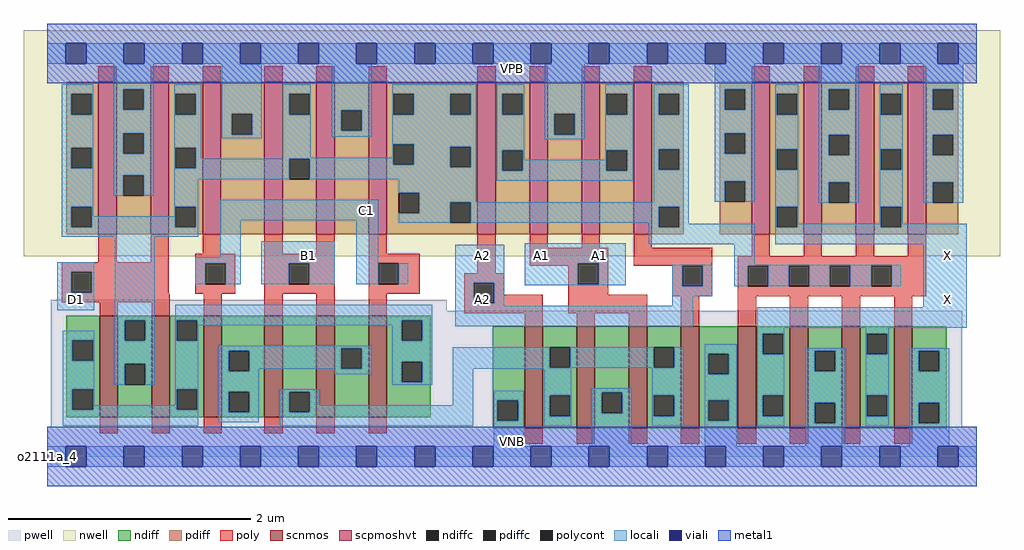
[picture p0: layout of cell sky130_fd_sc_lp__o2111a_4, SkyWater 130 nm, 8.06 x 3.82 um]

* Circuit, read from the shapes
.subckt sky130_fd_sc_lp__o2111a_4 A1 A2 B1 C1 D1 VGND VNB VPB VPWR X
XM1 n1 D1 n2 VNB sky130_fd_pr__nfet_01v8 w=0.84 l=0.15 m=2
XM2 n3 C1 n2 VNB sky130_fd_pr__nfet_01v8 w=0.84 l=0.15 m=2
XM3 n4 B1 n3 VNB sky130_fd_pr__nfet_01v8 w=0.84 l=0.15 m=2
XM4 n4 A2 VGND VNB sky130_fd_pr__nfet_01v8 w=0.84 l=0.15 m=2
XM5 VGND A1 n4 VNB sky130_fd_pr__nfet_01v8 w=0.84 l=0.15 m=2
XM6 X n1 VGND VNB sky130_fd_pr__nfet_01v8 w=0.84 l=0.15 m=4
XM7 VPWR D1 n1 VPB sky130_fd_pr__pfet_01v8_hvt w=1.26 l=0.15 m=2
XM8 VPWR C1 n1 VPB sky130_fd_pr__pfet_01v8_hvt w=1.26 l=0.15 m=2
XM9 n1 B1 VPWR VPB sky130_fd_pr__pfet_01v8_hvt w=1.26 l=0.15 m=2
XM10 n5 A2 n1 VPB sky130_fd_pr__pfet_01v8_hvt w=1.26 l=0.15 m=2
XM11 VPWR A1 n5 VPB sky130_fd_pr__pfet_01v8_hvt w=1.26 l=0.15 m=2
XM12 X n1 VPWR VPB sky130_fd_pr__pfet_01v8_hvt w=1.26 l=0.15 m=4
.ends

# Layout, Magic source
magic
tech sky130A
magscale 1 2
<< nwell >>
rect -38 331 1574 704
<< pwell >>
rect 6 241 660 259
rect 6 49 1512 241
rect 0 0 1536 49
<< scnmos >>
rect 87 65 117 233
rect 173 65 203 233
rect 259 65 289 233
rect 359 65 389 233
rect 445 65 475 233
rect 531 65 561 233
rect 789 47 819 215
rect 875 47 905 215
rect 961 47 991 215
rect 1047 47 1077 215
rect 1141 47 1171 215
rect 1227 47 1257 215
rect 1313 47 1343 215
rect 1399 47 1429 215
<< scpmoshvt >>
rect 85 367 115 619
rect 171 367 201 619
rect 257 367 287 619
rect 359 367 389 619
rect 445 367 475 619
rect 531 367 561 619
rect 711 367 741 619
rect 797 367 827 619
rect 883 367 913 619
rect 969 367 999 619
rect 1164 367 1194 619
rect 1250 367 1280 619
rect 1336 367 1366 619
rect 1422 367 1452 619
<< ndiff >>
rect 32 192 87 233
rect 32 158 42 192
rect 76 158 87 192
rect 32 111 87 158
rect 32 77 42 111
rect 76 77 87 111
rect 32 65 87 77
rect 117 225 173 233
rect 117 191 128 225
rect 162 191 173 225
rect 117 153 173 191
rect 117 119 128 153
rect 162 119 173 153
rect 117 65 173 119
rect 203 225 259 233
rect 203 191 214 225
rect 248 191 259 225
rect 203 111 259 191
rect 203 77 214 111
rect 248 77 259 111
rect 203 65 259 77
rect 289 175 359 233
rect 289 141 300 175
rect 334 141 359 175
rect 289 107 359 141
rect 289 73 300 107
rect 334 73 359 107
rect 289 65 359 73
rect 389 107 445 233
rect 389 73 400 107
rect 434 73 445 107
rect 389 65 445 73
rect 475 179 531 233
rect 475 145 486 179
rect 520 145 531 179
rect 475 65 531 145
rect 561 225 634 233
rect 561 191 586 225
rect 620 191 634 225
rect 561 157 634 191
rect 561 123 586 157
rect 620 123 634 157
rect 561 65 634 123
rect 736 93 789 215
rect 736 59 744 93
rect 778 59 789 93
rect 736 47 789 59
rect 819 181 875 215
rect 819 147 830 181
rect 864 147 875 181
rect 819 101 875 147
rect 819 67 830 101
rect 864 67 875 101
rect 819 47 875 67
rect 905 106 961 215
rect 905 72 916 106
rect 950 72 961 106
rect 905 47 961 72
rect 991 181 1047 215
rect 991 147 1002 181
rect 1036 147 1047 181
rect 991 101 1047 147
rect 991 67 1002 101
rect 1036 67 1047 101
rect 991 47 1047 67
rect 1077 170 1141 215
rect 1077 136 1092 170
rect 1126 136 1141 170
rect 1077 93 1141 136
rect 1077 59 1092 93
rect 1126 59 1141 93
rect 1077 47 1141 59
rect 1171 203 1227 215
rect 1171 169 1182 203
rect 1216 169 1227 203
rect 1171 101 1227 169
rect 1171 67 1182 101
rect 1216 67 1227 101
rect 1171 47 1227 67
rect 1257 175 1313 215
rect 1257 141 1268 175
rect 1302 141 1313 175
rect 1257 89 1313 141
rect 1257 55 1268 89
rect 1302 55 1313 89
rect 1257 47 1313 55
rect 1343 203 1399 215
rect 1343 169 1354 203
rect 1388 169 1399 203
rect 1343 101 1399 169
rect 1343 67 1354 101
rect 1388 67 1399 101
rect 1343 47 1399 67
rect 1429 175 1486 215
rect 1429 141 1440 175
rect 1474 141 1486 175
rect 1429 89 1486 141
rect 1429 55 1440 89
rect 1474 55 1486 89
rect 1429 47 1486 55
<< pdiff >>
rect 32 599 85 619
rect 32 565 40 599
rect 74 565 85 599
rect 32 510 85 565
rect 32 476 40 510
rect 74 476 85 510
rect 32 413 85 476
rect 32 379 40 413
rect 74 379 85 413
rect 32 367 85 379
rect 115 607 171 619
rect 115 573 126 607
rect 160 573 171 607
rect 115 534 171 573
rect 115 500 126 534
rect 160 500 171 534
rect 115 465 171 500
rect 115 431 126 465
rect 160 431 171 465
rect 115 367 171 431
rect 201 599 257 619
rect 201 565 212 599
rect 246 565 257 599
rect 201 510 257 565
rect 201 476 212 510
rect 246 476 257 510
rect 201 413 257 476
rect 201 379 212 413
rect 246 379 257 413
rect 201 367 257 379
rect 287 566 359 619
rect 287 532 305 566
rect 339 532 359 566
rect 287 367 359 532
rect 389 599 445 619
rect 389 565 400 599
rect 434 565 445 599
rect 389 492 445 565
rect 389 458 400 492
rect 434 458 445 492
rect 389 367 445 458
rect 475 572 531 619
rect 475 538 486 572
rect 520 538 531 572
rect 475 367 531 538
rect 561 599 711 619
rect 561 565 572 599
rect 606 565 666 599
rect 700 565 711 599
rect 561 516 711 565
rect 561 482 572 516
rect 606 512 711 516
rect 606 482 666 512
rect 561 478 666 482
rect 700 478 711 512
rect 561 436 711 478
rect 561 402 581 436
rect 615 420 711 436
rect 615 402 666 420
rect 561 386 666 402
rect 700 386 711 420
rect 561 367 711 386
rect 741 599 797 619
rect 741 565 752 599
rect 786 565 797 599
rect 741 506 797 565
rect 741 472 752 506
rect 786 472 797 506
rect 741 367 797 472
rect 827 566 883 619
rect 827 532 838 566
rect 872 532 883 566
rect 827 367 883 532
rect 913 599 969 619
rect 913 565 924 599
rect 958 565 969 599
rect 913 506 969 565
rect 913 472 924 506
rect 958 472 969 506
rect 913 367 969 472
rect 999 599 1052 619
rect 999 565 1010 599
rect 1044 565 1052 599
rect 999 508 1052 565
rect 999 474 1010 508
rect 1044 474 1052 508
rect 999 413 1052 474
rect 999 379 1010 413
rect 1044 379 1052 413
rect 999 367 1052 379
rect 1111 607 1164 619
rect 1111 573 1119 607
rect 1153 573 1164 607
rect 1111 534 1164 573
rect 1111 500 1119 534
rect 1153 500 1164 534
rect 1111 455 1164 500
rect 1111 421 1119 455
rect 1153 421 1164 455
rect 1111 367 1164 421
rect 1194 599 1250 619
rect 1194 565 1205 599
rect 1239 565 1250 599
rect 1194 508 1250 565
rect 1194 474 1205 508
rect 1239 474 1250 508
rect 1194 413 1250 474
rect 1194 379 1205 413
rect 1239 379 1250 413
rect 1194 367 1250 379
rect 1280 607 1336 619
rect 1280 573 1291 607
rect 1325 573 1336 607
rect 1280 532 1336 573
rect 1280 498 1291 532
rect 1325 498 1336 532
rect 1280 453 1336 498
rect 1280 419 1291 453
rect 1325 419 1336 453
rect 1280 367 1336 419
rect 1366 599 1422 619
rect 1366 565 1377 599
rect 1411 565 1422 599
rect 1366 508 1422 565
rect 1366 474 1377 508
rect 1411 474 1422 508
rect 1366 413 1422 474
rect 1366 379 1377 413
rect 1411 379 1422 413
rect 1366 367 1422 379
rect 1452 607 1505 619
rect 1452 573 1463 607
rect 1497 573 1505 607
rect 1452 532 1505 573
rect 1452 498 1463 532
rect 1497 498 1505 532
rect 1452 453 1505 498
rect 1452 419 1463 453
rect 1497 419 1505 453
rect 1452 367 1505 419
<< ndiffc >>
rect 42 158 76 192
rect 42 77 76 111
rect 128 191 162 225
rect 128 119 162 153
rect 214 191 248 225
rect 214 77 248 111
rect 300 141 334 175
rect 300 73 334 107
rect 400 73 434 107
rect 486 145 520 179
rect 586 191 620 225
rect 586 123 620 157
rect 744 59 778 93
rect 830 147 864 181
rect 830 67 864 101
rect 916 72 950 106
rect 1002 147 1036 181
rect 1002 67 1036 101
rect 1092 136 1126 170
rect 1092 59 1126 93
rect 1182 169 1216 203
rect 1182 67 1216 101
rect 1268 141 1302 175
rect 1268 55 1302 89
rect 1354 169 1388 203
rect 1354 67 1388 101
rect 1440 141 1474 175
rect 1440 55 1474 89
<< pdiffc >>
rect 40 565 74 599
rect 40 476 74 510
rect 40 379 74 413
rect 126 573 160 607
rect 126 500 160 534
rect 126 431 160 465
rect 212 565 246 599
rect 212 476 246 510
rect 212 379 246 413
rect 305 532 339 566
rect 400 565 434 599
rect 400 458 434 492
rect 486 538 520 572
rect 572 565 606 599
rect 666 565 700 599
rect 572 482 606 516
rect 666 478 700 512
rect 581 402 615 436
rect 666 386 700 420
rect 752 565 786 599
rect 752 472 786 506
rect 838 532 872 566
rect 924 565 958 599
rect 924 472 958 506
rect 1010 565 1044 599
rect 1010 474 1044 508
rect 1010 379 1044 413
rect 1119 573 1153 607
rect 1119 500 1153 534
rect 1119 421 1153 455
rect 1205 565 1239 599
rect 1205 474 1239 508
rect 1205 379 1239 413
rect 1291 573 1325 607
rect 1291 498 1325 532
rect 1291 419 1325 453
rect 1377 565 1411 599
rect 1377 474 1411 508
rect 1377 379 1411 413
rect 1463 573 1497 607
rect 1463 498 1497 532
rect 1463 419 1497 453
<< poly >>
rect 85 619 115 645
rect 171 619 201 645
rect 257 619 287 645
rect 359 619 389 645
rect 445 619 475 645
rect 531 619 561 645
rect 711 619 741 645
rect 797 619 827 645
rect 883 619 913 645
rect 969 619 999 645
rect 1164 619 1194 645
rect 1250 619 1280 645
rect 1336 619 1366 645
rect 1422 619 1452 645
rect 85 321 115 367
rect 171 321 201 367
rect 257 335 287 367
rect 359 335 389 367
rect 445 335 475 367
rect 24 305 201 321
rect 24 271 40 305
rect 74 271 201 305
rect 24 269 201 271
rect 245 319 311 335
rect 245 285 261 319
rect 295 285 311 319
rect 245 269 311 285
rect 359 319 475 335
rect 359 285 399 319
rect 433 285 475 319
rect 359 269 475 285
rect 24 255 203 269
rect 87 233 117 255
rect 173 233 203 255
rect 259 233 289 269
rect 359 233 389 269
rect 445 233 475 269
rect 531 335 561 367
rect 531 319 616 335
rect 531 285 547 319
rect 581 285 616 319
rect 711 303 741 367
rect 797 345 827 367
rect 883 345 913 367
rect 969 345 999 367
rect 797 319 927 345
rect 797 315 877 319
rect 531 269 616 285
rect 689 287 755 303
rect 531 233 561 269
rect 689 253 705 287
rect 739 267 755 287
rect 861 285 877 315
rect 911 285 927 319
rect 969 315 1099 345
rect 1164 331 1194 367
rect 1250 331 1280 367
rect 1336 331 1366 367
rect 1422 331 1452 367
rect 861 267 927 285
rect 1033 281 1049 315
rect 1083 281 1099 315
rect 739 253 819 267
rect 689 237 819 253
rect 861 237 991 267
rect 1033 265 1099 281
rect 1141 315 1452 331
rect 1141 281 1157 315
rect 1191 281 1225 315
rect 1259 281 1293 315
rect 1327 281 1361 315
rect 1395 281 1452 315
rect 1141 265 1452 281
rect 789 215 819 237
rect 875 215 905 237
rect 961 215 991 237
rect 1047 215 1077 265
rect 1141 215 1171 265
rect 1227 215 1257 265
rect 1313 215 1343 265
rect 1399 215 1429 265
rect 87 39 117 65
rect 173 39 203 65
rect 259 39 289 65
rect 359 39 389 65
rect 445 39 475 65
rect 531 39 561 65
rect 789 21 819 47
rect 875 21 905 47
rect 961 21 991 47
rect 1047 21 1077 47
rect 1141 21 1171 47
rect 1227 21 1257 47
rect 1313 21 1343 47
rect 1399 21 1429 47
<< polycont >>
rect 40 271 74 305
rect 261 285 295 319
rect 399 285 433 319
rect 547 285 581 319
rect 705 253 739 287
rect 877 285 911 319
rect 1049 281 1083 315
rect 1157 281 1191 315
rect 1225 281 1259 315
rect 1293 281 1327 315
rect 1361 281 1395 315
<< locali >>
rect 0 649 31 683
rect 65 649 127 683
rect 161 649 223 683
rect 257 649 319 683
rect 353 649 415 683
rect 449 649 511 683
rect 545 649 607 683
rect 641 649 703 683
rect 737 649 799 683
rect 833 649 895 683
rect 929 649 991 683
rect 1025 649 1087 683
rect 1121 649 1183 683
rect 1217 649 1279 683
rect 1313 649 1375 683
rect 1409 649 1471 683
rect 1505 649 1536 683
rect 24 599 76 615
rect 24 565 40 599
rect 74 565 76 599
rect 24 510 76 565
rect 24 476 40 510
rect 74 476 76 510
rect 24 413 76 476
rect 110 607 176 649
rect 110 573 126 607
rect 160 573 176 607
rect 110 534 176 573
rect 110 500 126 534
rect 160 500 176 534
rect 110 465 176 500
rect 110 431 126 465
rect 160 431 176 465
rect 210 599 255 615
rect 210 565 212 599
rect 246 565 255 599
rect 210 510 255 565
rect 289 566 355 649
rect 289 532 305 566
rect 339 532 355 566
rect 289 526 355 532
rect 389 599 436 615
rect 389 565 400 599
rect 434 565 436 599
rect 210 476 212 510
rect 246 492 255 510
rect 389 494 436 565
rect 470 572 536 649
rect 470 538 486 572
rect 520 538 536 572
rect 470 528 536 538
rect 570 599 709 615
rect 570 565 572 599
rect 606 565 666 599
rect 700 565 709 599
rect 570 516 709 565
rect 570 494 572 516
rect 389 492 572 494
rect 246 476 400 492
rect 210 458 400 476
rect 434 482 572 492
rect 606 512 709 516
rect 606 482 666 512
rect 434 478 666 482
rect 700 478 709 512
rect 434 458 709 478
rect 24 379 40 413
rect 74 397 76 413
rect 210 413 250 458
rect 581 436 709 458
rect 743 599 788 615
rect 743 565 752 599
rect 786 565 788 599
rect 743 506 788 565
rect 822 566 888 649
rect 822 532 838 566
rect 872 532 888 566
rect 822 524 888 532
rect 922 599 968 615
rect 922 565 924 599
rect 958 565 968 599
rect 743 472 752 506
rect 786 490 788 506
rect 922 506 968 565
rect 922 490 924 506
rect 786 472 924 490
rect 958 472 968 506
rect 743 456 968 472
rect 1002 599 1060 615
rect 1002 565 1010 599
rect 1044 565 1060 599
rect 1002 508 1060 565
rect 1002 474 1010 508
rect 1044 474 1060 508
rect 210 397 212 413
rect 74 379 212 397
rect 246 379 250 413
rect 24 363 250 379
rect 286 390 547 424
rect 17 305 78 321
rect 17 271 40 305
rect 74 271 78 305
rect 17 242 78 271
rect 112 225 178 363
rect 286 329 320 390
rect 245 319 320 329
rect 245 285 261 319
rect 295 285 320 319
rect 354 319 475 356
rect 354 285 399 319
rect 433 285 475 319
rect 511 285 547 390
rect 615 420 709 436
rect 1002 420 1060 474
rect 1103 607 1169 649
rect 1103 573 1119 607
rect 1153 573 1169 607
rect 1103 534 1169 573
rect 1103 500 1119 534
rect 1153 500 1169 534
rect 1103 455 1169 500
rect 1103 421 1119 455
rect 1153 421 1169 455
rect 1203 599 1241 615
rect 1203 565 1205 599
rect 1239 565 1241 599
rect 1203 508 1241 565
rect 1203 474 1205 508
rect 1239 474 1241 508
rect 615 402 666 420
rect 581 386 666 402
rect 700 413 1060 420
rect 700 386 1010 413
rect 994 379 1010 386
rect 1044 385 1060 413
rect 1203 413 1241 474
rect 1275 607 1341 649
rect 1275 573 1291 607
rect 1325 573 1341 607
rect 1275 532 1341 573
rect 1275 498 1291 532
rect 1325 498 1341 532
rect 1275 453 1341 498
rect 1275 419 1291 453
rect 1325 419 1341 453
rect 1375 599 1413 615
rect 1375 565 1377 599
rect 1411 565 1413 599
rect 1375 508 1413 565
rect 1375 474 1377 508
rect 1411 474 1413 508
rect 1044 379 1169 385
rect 581 285 597 319
rect 674 287 755 350
rect 674 253 705 287
rect 739 253 755 287
rect 789 319 956 352
rect 994 351 1169 379
rect 1203 379 1205 413
rect 1239 385 1241 413
rect 1375 413 1413 474
rect 1447 607 1513 649
rect 1447 573 1463 607
rect 1497 573 1513 607
rect 1447 532 1513 573
rect 1447 498 1463 532
rect 1497 498 1513 532
rect 1447 453 1513 498
rect 1447 419 1463 453
rect 1497 419 1513 453
rect 1375 385 1377 413
rect 1239 379 1377 385
rect 1411 385 1413 413
rect 1411 379 1519 385
rect 1203 351 1519 379
rect 789 285 877 319
rect 911 285 956 319
rect 1135 317 1169 351
rect 789 283 956 285
rect 1033 315 1099 317
rect 26 192 78 208
rect 26 158 42 192
rect 76 158 78 192
rect 26 111 78 158
rect 112 191 128 225
rect 162 191 178 225
rect 112 153 178 191
rect 112 119 128 153
rect 162 119 178 153
rect 212 225 636 251
rect 212 191 214 225
rect 248 217 586 225
rect 248 191 250 217
rect 26 77 42 111
rect 76 85 78 111
rect 212 111 250 191
rect 570 191 586 217
rect 620 191 636 225
rect 674 249 755 253
rect 1033 281 1049 315
rect 1083 281 1099 315
rect 1135 315 1411 317
rect 1135 281 1157 315
rect 1191 281 1225 315
rect 1259 281 1293 315
rect 1327 281 1361 315
rect 1395 281 1411 315
rect 1033 265 1099 281
rect 1033 249 1067 265
rect 674 215 1067 249
rect 1447 247 1519 351
rect 212 85 214 111
rect 76 77 214 85
rect 248 77 250 111
rect 26 51 250 77
rect 284 179 536 183
rect 284 175 486 179
rect 284 141 300 175
rect 334 145 486 175
rect 520 145 536 179
rect 334 141 350 145
rect 284 107 350 141
rect 475 136 536 145
rect 570 157 636 191
rect 1173 213 1519 247
rect 1173 203 1218 213
rect 570 123 586 157
rect 620 123 636 157
rect 570 119 636 123
rect 670 147 830 181
rect 864 147 1002 181
rect 1036 147 1052 181
rect 670 145 866 147
rect 284 73 300 107
rect 334 73 350 107
rect 284 57 350 73
rect 384 107 450 111
rect 384 73 400 107
rect 434 85 450 107
rect 670 85 704 145
rect 434 73 704 85
rect 384 51 704 73
rect 738 93 787 109
rect 738 59 744 93
rect 778 59 787 93
rect 738 17 787 59
rect 821 101 866 145
rect 821 67 830 101
rect 864 67 866 101
rect 821 51 866 67
rect 900 106 966 113
rect 900 72 916 106
rect 950 72 966 106
rect 900 17 966 72
rect 1000 101 1052 147
rect 1000 67 1002 101
rect 1036 67 1052 101
rect 1000 51 1052 67
rect 1086 170 1139 186
rect 1086 136 1092 170
rect 1126 136 1139 170
rect 1086 93 1139 136
rect 1086 59 1092 93
rect 1126 59 1139 93
rect 1086 17 1139 59
rect 1173 169 1182 203
rect 1216 169 1218 203
rect 1352 203 1390 213
rect 1173 101 1218 169
rect 1173 67 1182 101
rect 1216 67 1218 101
rect 1173 51 1218 67
rect 1252 175 1318 179
rect 1252 141 1268 175
rect 1302 141 1318 175
rect 1252 89 1318 141
rect 1252 55 1268 89
rect 1302 55 1318 89
rect 1252 17 1318 55
rect 1352 169 1354 203
rect 1388 169 1390 203
rect 1352 101 1390 169
rect 1352 67 1354 101
rect 1388 67 1390 101
rect 1352 51 1390 67
rect 1424 175 1490 179
rect 1424 141 1440 175
rect 1474 141 1490 175
rect 1424 89 1490 141
rect 1424 55 1440 89
rect 1474 55 1490 89
rect 1424 17 1490 55
rect 0 -17 31 17
rect 65 -17 127 17
rect 161 -17 223 17
rect 257 -17 319 17
rect 353 -17 415 17
rect 449 -17 511 17
rect 545 -17 607 17
rect 641 -17 703 17
rect 737 -17 799 17
rect 833 -17 895 17
rect 929 -17 991 17
rect 1025 -17 1087 17
rect 1121 -17 1183 17
rect 1217 -17 1279 17
rect 1313 -17 1375 17
rect 1409 -17 1471 17
rect 1505 -17 1536 17
<< viali >>
rect 31 649 65 683
rect 127 649 161 683
rect 223 649 257 683
rect 319 649 353 683
rect 415 649 449 683
rect 511 649 545 683
rect 607 649 641 683
rect 703 649 737 683
rect 799 649 833 683
rect 895 649 929 683
rect 991 649 1025 683
rect 1087 649 1121 683
rect 1183 649 1217 683
rect 1279 649 1313 683
rect 1375 649 1409 683
rect 1471 649 1505 683
rect 31 -17 65 17
rect 127 -17 161 17
rect 223 -17 257 17
rect 319 -17 353 17
rect 415 -17 449 17
rect 511 -17 545 17
rect 607 -17 641 17
rect 703 -17 737 17
rect 799 -17 833 17
rect 895 -17 929 17
rect 991 -17 1025 17
rect 1087 -17 1121 17
rect 1183 -17 1217 17
rect 1279 -17 1313 17
rect 1375 -17 1409 17
rect 1471 -17 1505 17
<< metal1 >>
rect 0 683 1536 715
rect 0 649 31 683
rect 65 649 127 683
rect 161 649 223 683
rect 257 649 319 683
rect 353 649 415 683
rect 449 649 511 683
rect 545 649 607 683
rect 641 649 703 683
rect 737 649 799 683
rect 833 649 895 683
rect 929 649 991 683
rect 1025 649 1087 683
rect 1121 649 1183 683
rect 1217 649 1279 683
rect 1313 649 1375 683
rect 1409 649 1471 683
rect 1505 649 1536 683
rect 0 617 1536 649
rect 0 17 1536 49
rect 0 -17 31 17
rect 65 -17 127 17
rect 161 -17 223 17
rect 257 -17 319 17
rect 353 -17 415 17
rect 449 -17 511 17
rect 545 -17 607 17
rect 641 -17 703 17
rect 737 -17 799 17
rect 833 -17 895 17
rect 929 -17 991 17
rect 1025 -17 1087 17
rect 1121 -17 1183 17
rect 1217 -17 1279 17
rect 1313 -17 1375 17
rect 1409 -17 1471 17
rect 1505 -17 1536 17
rect 0 -49 1536 -17
<< labels >>
flabel pwell s 0 0 1536 49 0 FreeSans 200 0 0 0 VNB
port 7 nsew ground bidirectional
flabel nwell s 0 617 1536 666 0 FreeSans 200 0 0 0 VPB
port 8 nsew power bidirectional
rlabel comment s 0 0 0 0 4 o2111a_4
flabel metal1 s 0 617 1536 666 0 FreeSans 340 0 0 0 VPWR
port 9 nsew power bidirectional
flabel metal1 s 0 0 1536 49 0 FreeSans 340 0 0 0 VGND
port 6 nsew ground bidirectional
flabel locali s 799 316 833 350 0 FreeSans 340 0 0 0 A1
port 1 nsew signal input
flabel locali s 895 316 929 350 0 FreeSans 340 0 0 0 A1
port 1 nsew signal input
flabel locali s 703 242 737 276 0 FreeSans 340 0 0 0 A2
port 2 nsew signal input
flabel locali s 703 316 737 350 0 FreeSans 340 0 0 0 A2
port 2 nsew signal input
flabel locali s 31 242 65 276 0 FreeSans 340 0 0 0 D1
port 5 nsew signal input
flabel locali s 1471 242 1505 276 0 FreeSans 340 0 0 0 X
port 10 nsew signal output
flabel locali s 1471 316 1505 350 0 FreeSans 340 0 0 0 X
port 10 nsew signal output
flabel locali s 415 316 449 350 0 FreeSans 340 0 0 0 B1
port 3 nsew signal input
flabel locali s 511 390 545 424 0 FreeSans 340 0 0 0 C1
port 4 nsew signal input
<< properties >>
string LEFsite unit
string LEFclass CORE
string FIXED_BBOX 0 0 1536 666
string GDS_FILE $PDKPATH/libs.ref/sky130_fd_sc_lp/gds/sky130_fd_sc_lp.gds
string LEFsymmetry X Y R90
string GDS_END 4152892
string GDS_START 4139776
<< end >>
